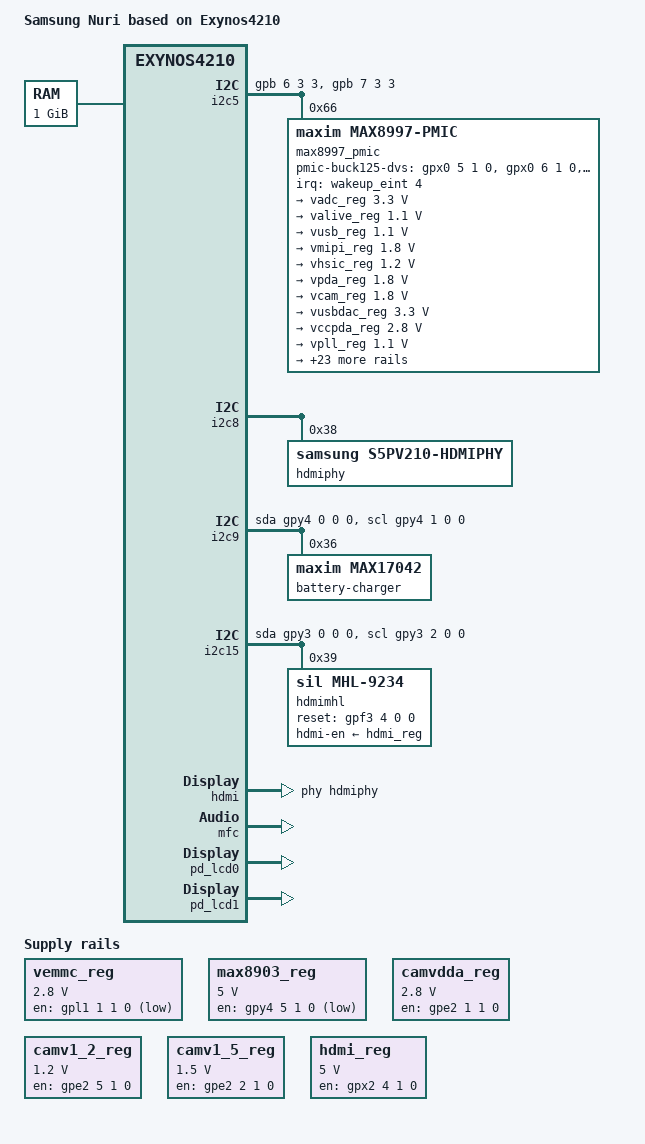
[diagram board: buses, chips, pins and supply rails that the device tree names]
/*
 * Samsung Nuri board device tree source
 *
 * Copyright (C) 2012  Samsung Electronics Co., Ltd.
 * Author: Karol Lewandowski <k.lewandowsk@samsung.com>
 *
 * This program is free software; you can redistribute it and/or modify
 * it under the terms of the GNU General Public License version 2 as
 * published by the Free Software Foundation.
 */

/dts-v1/;
/include/ "exynos4210.dtsi"

/ {
	model = "Samsung Nuri based on Exynos4210";
	compatible = "samsung,nuri", "samsung,exynos4210";

	memory {
		reg = <0x40000000 0x40000000>;
	};

	chosen {
		bootargs ="console=ttySAC2,115200 fbmem=24M@0x66800000 lcd=nt39411 lpj=3981312";
	};

	wakeup_eint: interrupt-controller-wakeup-eint {
		compatible = "samsung,exynos4210-wakeup-eint";
		reg = <0x11000000 0x1000>;
		#interrupt-cells = <2>;
		interrupt-controller;
		interrupts = 	<0 16 0>, <0 17 0>, <0 18 0>, <0 19 0>,
				<0 20 0>, <0 21 0>, <0 22 0>, <0 23 0>,
				<0 24 0>, <0 25 0>, <0 26 0>, <0 27 0>,
				<0 28 0>, <0 29 0>, <0 30 0>, <0 31 0>,
				<0 32 0>;
	};

	/* fixed regulators */

	vemmc_reg: voltage-regulator@0 {
	        compatible = "regulator-fixed";
		regulator-name = "VMEM_VDD_2.8V";
		regulator-min-microvolt = <2800000>;
		regulator-max-microvolt = <2800000>;
		regulator-always-on;
		gpio = <&gpl1 1 1 0 0>;
	};

	max8903_reg: voltage-regulator@1 {
	        compatible = "regulator-fixed";
		regulator-name = "VOUT_CHARGER";
		regulator-min-microvolt = <5000000>;
		regulator-max-microvolt = <5000000>;
		regulator-always-on;
		regulator-boot-on;
		gpio = <&gpy4 5 1 0 0>;
	};

	camvdda_reg: voltage-regulator@2 {
	        compatible = "regulator-fixed";
		regulator-name = "CAM_IO_EN";
		regulator-min-microvolt = <2800000>;
		regulator-max-microvolt = <2800000>;
		regulator-always-on;
		enable-active-high;
		gpio = <&gpe2 1 1 0 0>;
	};

	camv1_2_reg: voltage-regulator@3 {
	        compatible = "regulator-fixed";
		regulator-name = "8M_1.2V";
		regulator-min-microvolt = <1200000>;
		regulator-max-microvolt = <1200000>;
		regulator-always-on;
		enable-active-high;
		gpio = <&gpe2 5 1 0 0>;
	};

	camv1_5_reg: voltage-regulator@4 {
	        compatible = "regulator-fixed";
		regulator-name = "VT_CAM_1.5V";
		regulator-min-microvolt = <1500000>;
		regulator-max-microvolt = <1500000>;
		regulator-always-on;
		enable-active-high;
		gpio = <&gpe2 2 1 0 0>;
	};

	hdmi_reg: voltage-regulator@5 {
	        compatible = "regulator-fixed";
		regulator-name = "HDMI_5V";
		regulator-min-microvolt = <5000000>;
		regulator-max-microvolt = <5000000>;
		gpio = <&gpx2 4 1 0 0>;
		enable-active-high;
	};

	sdhci_emmc: sdhci@12510000 {
		/* eMMC */
		samsung,sdhci-cd-permanent;
		gpio-cd = <&gpk0 2 2 3 3>;

		samsung,sdhci-bus-width = <8>;
		gpios = <&gpk0 0 2 0 3>,
			<&gpk0 1 2 0 3>,
			<&gpk1 3 3 3 3>,
			<&gpk1 4 3 3 3>,
			<&gpk1 5 3 3 3>,
			<&gpk1 6 3 3 3>,
			<&gpk0 3 2 2 3>,
			<&gpk0 4 2 2 3>,
			<&gpk0 5 2 2 3>,
			<&gpk0 6 2 2 3>;

		/* configuration for bus-width 4   */
		/* samsung,sdhci-bus-width = <4>;  */
		/*     mux fn___ pull  ___strength */
		/*		\  |  /		   */
		/*		 | | |
		gpios = <&gpk0 0 2 0 3>,
			<&gpk0 1 2 0 3>,
			<&gpk0 3 2 2 3>,
			<&gpk0 4 2 2 3>,
			<&gpk0 5 2 2 3>,
			<&gpk0 6 2 2 3>;
		*/

		vmmc-supply = <&vemmc_reg>;
	};

	sdhci@12520000 {
		status = "disabled";
	};

	sdhci_sd: sdhci@12530000 {
		/* SD */
		status = "disabled";

		samsung,sdhci-cd-gpio;
		gpio-cd = <&gpk2 2 2 3 3>;

		samsung,sdhci-bus-width = <4>;
		gpios = <&gpk2 0 2 0 3>,
			<&gpk2 1 2 0 3>,
			<&gpk2 3 2 3 3>,
			<&gpk2 4 2 3 3>,
			<&gpk2 5 2 3 3>,
			<&gpk2 6 2 3 3>;
	};

	sdhci_wlan: sdhci@12540000 {
		/* WLAN */
		status = "disabled";

		samsung,sdhci-cd-external;
		samsung,sdhci-bus-width = <4>;
	};

	i2c0: i2c@13860000 {
		samsung,i2c-max-bus-freq = <400000>;
		samsung,i2c-slave-addr = <0>;
		samsung,i2c-sda-delay = <200>;

		gpios = <&gpd1 0 2 3 0>,
			<&gpd1 1 2 3 0>;

	};

	i2c1: i2c@13870000 {
		status = "disabled";
	};

	i2c2: i2c@13880000 {
		status = "disabled";
	};


	i2c3: i2c@13890000 {
		samsung,i2c-max-bus-freq = <400000>;
		samsung,i2c-slave-addr = <0x10>;
		samsung,i2c-sda-delay = <100>;

		gpios = <&gpa1 2 3 3 0>,
			<&gpa1 3 3 3 0>;

	};

	i2c4: i2c@138A0000 {
		status = "disabled";
	};

	i2c5: i2c@138B0000 {
		samsung,i2c-max-bus-freq = <100000>;
		samsung,i2c-slave-addr = <0x10>;
		samsung,i2c-sda-delay = <100>;

		gpios = <&gpb 6 3 3 0>,
			<&gpb 7 3 3 0>;

		max8997_pmic@66 {
			compatible = "maxim,max8997-pmic";
			interrupt-parent = <&wakeup_eint>;

			reg = <0x66>;
			interrupts = <4 0>, <3 0>;

			max8997,pmic-buck1-uses-gpio-dvs;
			max8997,pmic-buck2-uses-gpio-dvs;
			max8997,pmic-buck5-uses-gpio-dvs;

			max8997,pmic-ignore-gpiodvs-side-effect;
			max8997,pmic-buck125-default-dvs-idx = <0>;

			max8997,pmic-buck125-dvs-gpios = <&gpx0 5 1 0 0>,
						         <&gpx0 6 1 0 0>,
							 <&gpl0 0 1 0 0>;

			max8997,pmic-buck1-dvs-voltage = <1350000>, <1300000>,
						       	 <1250000>, <1200000>,
							 <1150000>, <1100000>,
							 <1000000>, <950000>;

			max8997,pmic-buck2-dvs-voltage = <1100000>, <1000000>,
							 <950000>,  <900000>,
							 <1100000>, <1000000>,
							 <950000>,  <900000>;

			max8997,pmic-buck5-dvs-voltage = <1200000>, <1200000>,
						       	 <1200000>, <1200000>,
							 <1200000>, <1200000>,
							 <1200000>, <1200000>;

			regulators {
				vadc_reg: LDO1 {
				     regulator-name = "VADC_3.3V_C210";
				     regulator-min-microvolt = <3300000>;
				     regulator-max-microvolt = <3300000>;

				};

				valive_reg: LDO2 {
				     regulator-name = "VALIVE_1.1V_C210";
				     regulator-min-microvolt = <1100000>;
				     regulator-max-microvolt = <1100000>;
				     regulator-always-on;
				};

				vusb_reg: LDO3 {
				     regulator-name = "VUSB_1.1V_C210";
				     regulator-min-microvolt = <1100000>;
				     regulator-max-microvolt = <1100000>;
				};

				vmipi_reg: LDO4 {
				     regulator-name = "VMIPI_1.8V";
				     regulator-min-microvolt = <1800000>;
				     regulator-max-microvolt = <1800000>;
				};

				vhsic_reg: LDO5 {
				     regulator-name = "VHSIC_1.2V_C210";
				     regulator-min-microvolt = <1200000>;
				     regulator-max-microvolt = <1200000>;
				};

				vpda_reg: LDO6 {
				     regulator-name = "VCC_1.8V_PDA";
				     regulator-min-microvolt = <1800000>;
				     regulator-max-microvolt = <1800000>;
				     regulator-always-on;
				};

				vcam_reg: LDO7 {
				     regulator-name = "CAM_ISP_1.8V";
				     regulator-min-microvolt = <1800000>;
				     regulator-max-microvolt = <1800000>;
				};

				vusbdac_reg: LDO8 {
				     regulator-name = "VUSB/VDAC_3.3V_C210";
				     regulator-min-microvolt = <3300000>;
				     regulator-max-microvolt = <3300000>;
				};

				vccpda_reg: LDO9 {
				     regulator-name = "VCC_2.8V_PDA";
				     regulator-min-microvolt = <2800000>;
				     regulator-max-microvolt = <2800000>;
				     regulator-always-on;
				};

				vpll_reg: LDO10 {
				     regulator-name = "VPLL_1.1V_C210";
				     regulator-min-microvolt = <1100000>;
				     regulator-max-microvolt = <1100000>;
				     regulator-always-on;
				};


				lvds_reg: LDO11 {
				     regulator-name = "LVDS_VDD3.3V";
				     regulator-min-microvolt = <3300000>;
				     regulator-max-microvolt = <3300000>;
				     regulator-boot-on;
				};

				vtcam_reg: LDO12 {
				     regulator-name = "VT_CAM_1.8V";
				     regulator-min-microvolt = <1800000>;
				     regulator-max-microvolt = <1800000>;
				};

				vtf_reg: LDO13 {
				     regulator-name = "VTF_2.8V";
				     regulator-min-microvolt = <2800000>;
				     regulator-max-microvolt = <2800000>;
				};

				vmotor_reg: LDO14 {
				     regulator-name = "VCC_3.0V_MOTOR";
				     regulator-min-microvolt = <3000000>;
				     regulator-max-microvolt = <3000000>;
				};

				vtouchadvv_reg: LDO15 {
				     regulator-name = "VTOUCH_ADVV2.8V";
				     regulator-min-microvolt = <2800000>;
				     regulator-max-microvolt = <2800000>;
				};

				camsensor_reg: LDO16 {
				     regulator-name = "CAM_SENSOR_IO_1.8V";
				     regulator-min-microvolt = <1800000>;
				     regulator-max-microvolt = <1800000>;
				};

				vtouchvdd_reg: LDO18 {
				     regulator-name = "VTOUCH_VDD2.8V";
				     regulator-min-microvolt = <2800000>;
				     regulator-max-microvolt = <2800000>;
				};

				vddq_reg: LDO21 {
				     regulator-name = "VDDQ_M1M2_1.2V";
				     regulator-min-microvolt = <1200000>;
				     regulator-max-microvolt = <1200000>;
				     regulator-always-on;
				};

				varm_breg: BUCK1 {
				     regulator-name = "VARM_1.2V_C210";
				     regulator-min-microvolt = <900000>;
				     regulator-max-microvolt = <1350000>;
				     regulator-always-on;
				};

				vint_breg: BUCK2 {
				     regulator-name = "VINT_1.1V_C210";
				     regulator-min-microvolt = <900000>;
				     regulator-max-microvolt = <1100000>;
				     regulator-always-on;
				};

				vg3d_breg: BUCK3 {
				     regulator-name = "VG3D_1.1V_C210";
				     regulator-min-microvolt = <900000>;
				     regulator-max-microvolt = <1350000>;
				};

				camisp_breg: BUCK4 {
				     regulator-name = "CAM_ISP_CORE_1.2V";
				     regulator-min-microvolt = <1200000>;
				     regulator-max-microvolt = <1200000>;
				};

				vmem_breg: BUCK5 {
				     regulator-name = "VMEM_1.2V_C210";
				     regulator-min-microvolt = <1200000>;
				     regulator-max-microvolt = <1200000>;
				     regulator-always-on;
				};

				camaf_breg: BUCK6 {
				     regulator-name = "CAM_AF_2.8V";
				};

				vccsub_breg: BUCK7 {
				     regulator-name = "VCC_SUB_2.0V";
				     regulator-min-microvolt = <2800000>;
				     regulator-max-microvolt = <2800000>;
				     regulator-always-on;
				};

				en32ap_sreg: EN32KHz_AP {
				     regulator-name = "EN32KHz AP";
				     regulator-always-on;
				};

				en32cp_sreg: EN32KHz_CP {
				     regulator-name = "EN32KHz CP";
				};

				ivchg_sreg: ENVICHG {
				     regulator-name = "VICHG";
				};

				safe1_sreg: ESAFEOUT1 {
				     regulator-name = "SAFEOUT1";
				     regulator-always-on;
				};

				safe2_sreg: ESAFEOUT2 {
				     regulator-name = "SAFEOUT2";
				     regulator-always-on;
				};

				charger_sreg: CHARGER {
				     regulator-name = "CHARGER";
				     regulator-min-microamp = <200000>;
				     regulator-max-microamp = <950000>;
				     regulator-boot-on;
				};

				chcv_sreg: CHARGER_CV {
				     regulator-name = "CHARGER CV";
				     regulator-min-microvolt = <4200000>;
				     regulator-max-microvolt = <4200000>;
				};

				chtopoff_sreg: CHARGER_TOPOFF {
				     regulator-name = "CHARGER TOPOFF";
				     regulator-min-microamp = <50000>;
				     regulator-max-microamp = <200000>;
				};
			};
		};
	};

	i2c6: i2c@138C0000 {
		samsung,i2c-max-bus-freq = <400000>;
		samsung,i2c-slave-addr = <0>;
		samsung,i2c-sda-delay = <200>;

		gpios = <&gpc1 3 4 3 0>,
			<&gpc1 4 4 3 0>;
	};

	i2c7: i2c@138D0000 {
		status = "disabled";
	};

	i2c8: i2c@138e0000 {
		#address-cells = <1>;
		#size-cells = <0>;
		compatible = "samsung,s3c2440-i2c";
		samsung,i2c-quirk-hdmiphy;
		samsung,i2c-no-gpio;
		reg = <0x138e0000 0x1000>;
		interrupts = <0 125 0>;

		hdmiphy: phy@38 {
			compatible = "samsung,s5pv210-hdmiphy";
			reg = <0x38>;
		};
	};

	i2c9: i2c@0 {
		#address-cells = <1>;
		#size-cells = <0>;
		compatible = "i2c-gpio";
		interrupts = <0 307 0>;

		gpios = <&gpy4 0 0 0 0>,
			<&gpy4 1 0 0 0>;

		battery-charger@36 {
			compatible = "maxim,max17042";
			reg = <0x36>;
		};
	};

	i2c15: i2c@1 {
		#address-cells = <1>;
		#size-cells = <0>;
		compatible = "i2c-gpio";
		delay-us = <2>;

		gpios = <&gpy3 0 0 0 0>,
			<&gpy3 2 0 0 0>;

		hdmimhl: mhl@39 {
			compatible = "sil,mhl-9234";
			reg = <0x39>;
			gpio-reset = <&gpf3 4 0 0 0>;
			hdmi-en-supply = <&hdmi_reg>;
		};
	};

	g2d: gpu@12800000 {
		compatible = "samsung,s5pv210-g2d";
		reg = <0x12800000 0x4000>;
		interrupts = <0 121 0>;
	};

	tvmixer: tvmixer@12c10000 {
		compatible = "samsung,s5pv210-tvmixer";
		reg = <0x12c10000 0x10000>,
		      <0x12c00000 0x10000>;
		reg-names = "mxr", "vp";
		interrupts = <0 123 0>;
		interrupt-names = "irq";
	};

	hdmi: hdmi@12d00000 {
		compatible = "samsung,s5pv210-hdmi";
		reg = <0x12d00000 0x100000>;
		interrupts = <0 124 0>;
		phy = <&hdmiphy>;
		mhl = <&hdmimhl>;

		vdd_osc-supply = <&vadc_reg>;
		vdd_pll-supply = <&vusb_reg>;
		vdd-supply     = <&vusb_reg>;
		hdmi-en-supply = <&hdmi_reg>;
	};

	mfc: codec@13400000 {
		compatible = "samsung,s5pv210-mfc";
		reg = <0x13400000 0x10000>;
		interrupts = <0 126 0>;
	};

	pd_gps: power_domain_gps {
	       compatible = "samsung,exynos4210-pd";
	       reg = <0xf8183ce0 0x20>;
	};

	pd_cam: power_domain_cam {
	       compatible = "samsung,exynos4210-pd";
	       reg = <0xf8183c00 0x20>;
	};

	pd_tv: power_domain_tv {
	       compatible = "samsung,exynos4210-pd";
	       reg = <0xf8183c20 0x20>;
	};

	pd_mfc: power_domain_mfc {
	       compatible = "samsung,exynos4210-pd";
	       reg = <0xf8183c40 0x20>;
	};

	pd_g2d: power_domain_gps {
	       compatible = "samsung,exynos4210-pd";
	       reg = <0xf8183c60 0x20>;
	};

	pd_lcd0: power_domain_lcd0 {
	       compatible = "samsung,exynos4210-pd";
	       reg = <0xf8183c60 0x20>;
	};

	pd_lcd1: power_domain_lcd1 {
	       compatible = "samsung,exynos4210-pd";
	       reg = <0xf8183c80 0x20>;
	};

};
